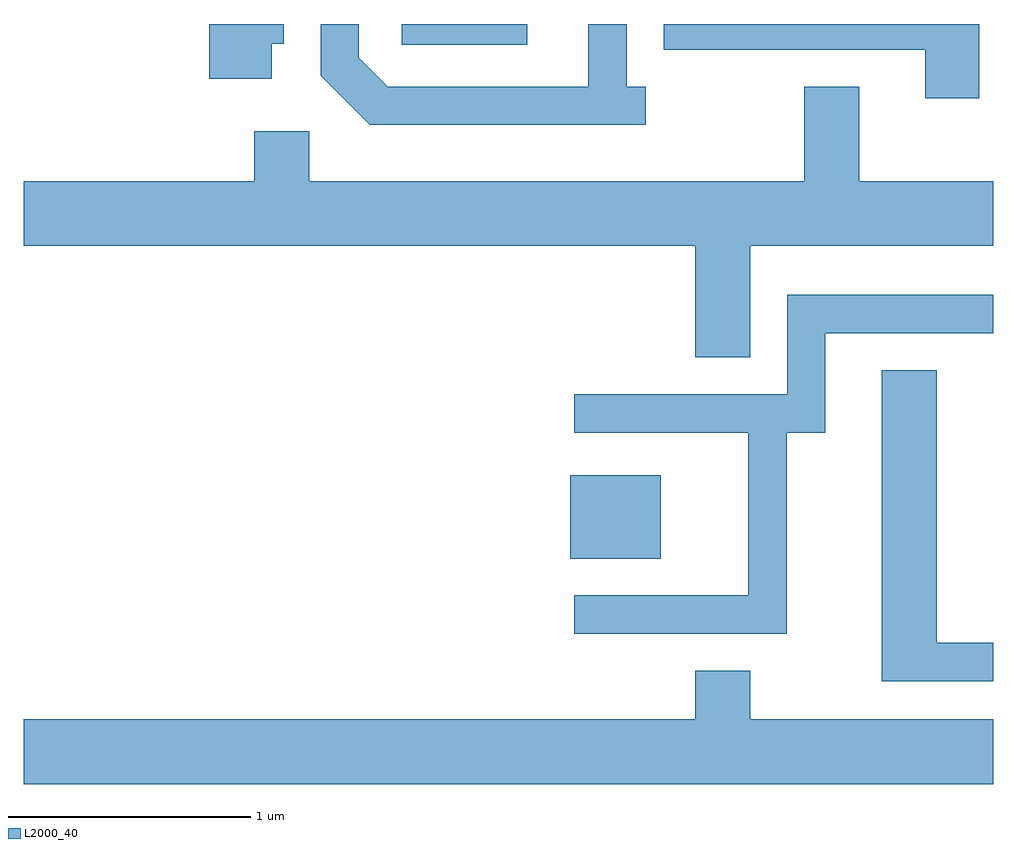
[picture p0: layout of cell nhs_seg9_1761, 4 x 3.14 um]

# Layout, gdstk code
import gdstk
lib = gdstk.Library(unit=1e-6, precision=1e-09)
def R(c, l, rs):  # rectangles x0, y0, x1, y1
    for r in rs: c.add(gdstk.rectangle(r[:2], r[2:], *l))
def P(c, l, *ps):  # polygons
    for p in ps: c.add(gdstk.Polygon(p, *l))
L2000_40 = (2000, 40)

nhs_seg9_1761 = lib.new_cell('nhs_seg9_1761')
R(nhs_seg9_1761, L2000_40, [(237.866,2068.226,238.239,2068.569), (237.171,2070.346,237.688,2070.432)])
P(nhs_seg9_1761, L2000_40, [(238.178,2070.174),(238.099,2070.174),(238.099,2070.432),(237.941,2070.432),(237.941,2070.174),(237.112,2070.174),(236.994,2070.292),(236.994,2070.432),(236.836,2070.432),(236.836,2070.219),(237.039,2070.016),(238.178,2070.016)],
  [(236.634,2070.351),(236.684,2070.351),(236.684,2070.432),(236.376,2070.432),(236.376,2070.206),(236.634,2070.206)],
  [(239.554,2070.432),(238.251,2070.432),(238.251,2070.326),(239.331,2070.326),(239.331,2070.126),(239.554,2070.126)],
  [(236.789,2069.989),(236.561,2069.989),(236.561,2069.784),(235.611,2069.784),(235.611,2069.516),(238.381,2069.516),(238.381,2069.056),(238.609,2069.056),(238.609,2069.516),(239.611,2069.516),(239.611,2069.784),(239.059,2069.784),(239.059,2070.174),(238.831,2070.174),(238.831,2069.784),(236.789,2069.784)],
  [(238.759,2068.746),(238.919,2068.746),(238.919,2069.156),(239.611,2069.156),(239.611,2069.314),(238.761,2069.314),(238.761,2068.904),(237.883,2068.904),(237.883,2068.746),(238.601,2068.746),(238.601,2068.074),(237.883,2068.074),(237.883,2067.916),(238.759,2067.916)],
  [(239.611,2067.879),(239.379,2067.879),(239.379,2069.004),(239.151,2069.004),(239.151,2067.721),(239.611,2067.721)],
  [(239.611,2067.564),(238.609,2067.564),(238.609,2067.764),(238.381,2067.764),(238.381,2067.564),(235.611,2067.564),(235.611,2067.296),(239.611,2067.296)])

lib.write_gds('nhs_seg9_1761.gds')
